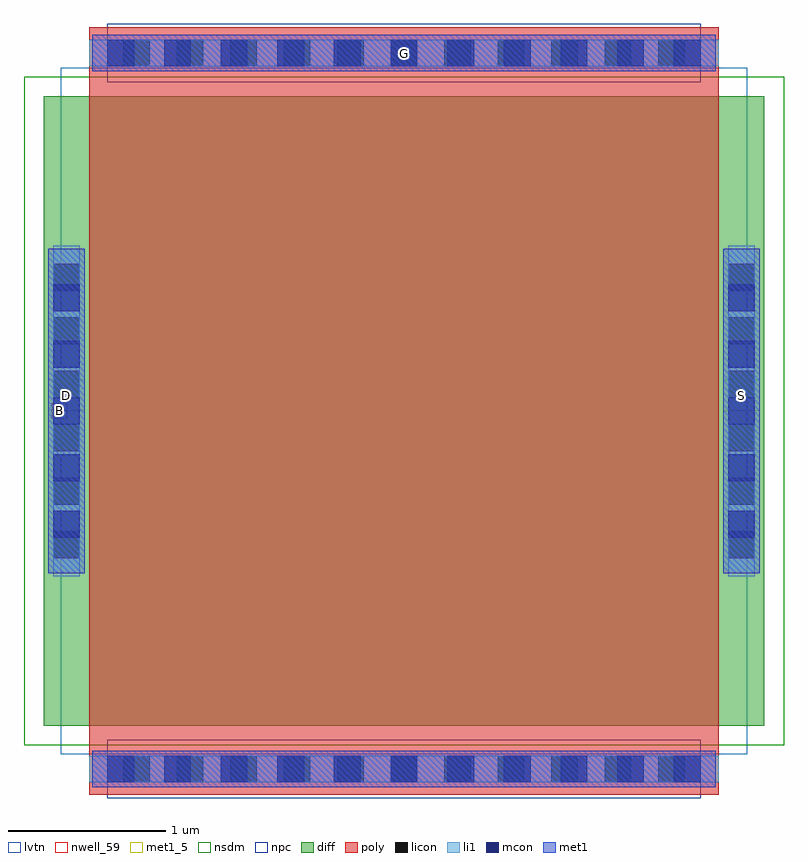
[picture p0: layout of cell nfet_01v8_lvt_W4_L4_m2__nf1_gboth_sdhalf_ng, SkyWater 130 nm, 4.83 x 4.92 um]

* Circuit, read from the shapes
.subckt nfet_01v8_lvt_W4_L4_m2__nf1_gboth_sdhalf_ng B D G S
XM1 S G D B sky130_fd_pr__nfet_01v8_lvt w=4 l=4
.ends

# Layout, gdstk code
import gdstk
lib = gdstk.Library(unit=1e-6, precision=1e-09)
def R(c, l, rs):  # rectangles x0, y0, x1, y1
    for r in rs: c.add(gdstk.rectangle(r[:2], r[2:], *l))
def A(c, l, x, y, w, h, nx, ny, dx, dy):  # array of equal rectangles
    R(c, l, [(x+i*dx, y+j*dy, x+i*dx+w, y+j*dy+h) for i in range(nx) for j in range(ny)])
nwell_59 = (64, 59)
diff = (65, 20)
poly = (66, 20)
licon = (66, 44)
li1 = (67, 20)
mcon = (67, 44)
met1_5 = (68, 5)
met1 = (68, 20)
nsdm = (93, 44)
npc = (95, 20)
lvtn = (125, 44)

sky130_fd_pr__nfet_01v8_ = lib.new_cell('sky130_fd_pr__nfet_01v8_lvt_ZG7X4J')
R(sky130_fd_pr__nfet_01v8_, diff, [(-2.29,-2,2.29,2)])
R(sky130_fd_pr__nfet_01v8_, poly, [(-2,-2.44,2,2.44)])
A(sky130_fd_pr__nfet_01v8_, licon, -1.785, -2.36, 0.17, 0.17, 11, 2, 0.34, 4.55)
A(sky130_fd_pr__nfet_01v8_, licon, -2.23, -0.935, 0.17, 0.17, 1, 6, 0, 0.34)
A(sky130_fd_pr__nfet_01v8_, licon, 2.06, -0.935, 0.17, 0.17, 1, 6, 0, 0.34)
R(sky130_fd_pr__nfet_01v8_, li1, [(-2,-2.36,2,-2.19), (-2.23,-1.05,-2.06,1.05), (2.06,-1.05,2.23,1.05), (-2,2.19,2,2.36)])
A(sky130_fd_pr__nfet_01v8_, mcon, -1.885, -2.36, 0.17, 0.17, 11, 2, 0.36, 4.55)
A(sky130_fd_pr__nfet_01v8_, mcon, -2.23, -0.805, 0.17, 0.17, 1, 5, 0, 0.36)
A(sky130_fd_pr__nfet_01v8_, mcon, 2.06, -0.805, 0.17, 0.17, 1, 5, 0, 0.36)
R(sky130_fd_pr__nfet_01v8_, met1, [(-1.98,-2.39,1.98,-2.16), (-2.26,-1.03,-2.03,1.03), (2.03,-1.03,2.26,1.03), (-1.98,2.16,1.98,2.39)])
R(sky130_fd_pr__nfet_01v8_, nsdm, [(-2.415,-2.125,2.415,2.125)])
R(sky130_fd_pr__nfet_01v8_, npc, [(-1.885,-2.46,1.885,-2.09), (-1.885,2.09,1.885,2.46)])
R(sky130_fd_pr__nfet_01v8_, lvtn, [(-2.18,-2.18,2.18,2.18)])
sky130_fd_pr__nfet_01v8_.add(gdstk.Label('D', (-2.145,0), layer=67, texttype=5))
sky130_fd_pr__nfet_01v8_.add(gdstk.Label('S', (2.145,0), layer=67, texttype=5))
sky130_fd_pr__nfet_01v8_.add(gdstk.Label('G', (0,2.275), layer=67, texttype=5))

nfet_01v8_lvt_w4_l4_m2__ = lib.new_cell('nfet_01v8_lvt_W4_L4_m2__nf1_gboth_sdhalf_ng')
R(nfet_01v8_lvt_w4_l4_m2__, nwell_59, [(0.05,2.39,0.15,2.49)])
R(nfet_01v8_lvt_w4_l4_m2__, met1_5, [(0.03,2.44,0.26,2.64), (4.32,2.44,4.55,2.64), (0.31,4.6,4.27,4.83)])
R(nfet_01v8_lvt_w4_l4_m2__, met1, [(0.03,2.44,0.26,2.64), (4.32,2.44,4.55,2.64), (0.31,4.6,4.27,4.83)])
nfet_01v8_lvt_w4_l4_m2__.add(gdstk.Reference(sky130_fd_pr__nfet_01v8_, (2.29,2.44)))
nfet_01v8_lvt_w4_l4_m2__.add(gdstk.Label('D', (0.145,2.54), layer=68, texttype=5))
nfet_01v8_lvt_w4_l4_m2__.add(gdstk.Label('S', (4.435,2.54), layer=68, texttype=5))
nfet_01v8_lvt_w4_l4_m2__.add(gdstk.Label('G', (2.29,4.715), layer=68, texttype=5))
nfet_01v8_lvt_w4_l4_m2__.add(gdstk.Label('B', (0.1,2.44), layer=64, texttype=59))

lib.write_gds('nfet_01v8_lvt_W4_L4_m2__nf1_gboth_sdhalf_ng.gds')
